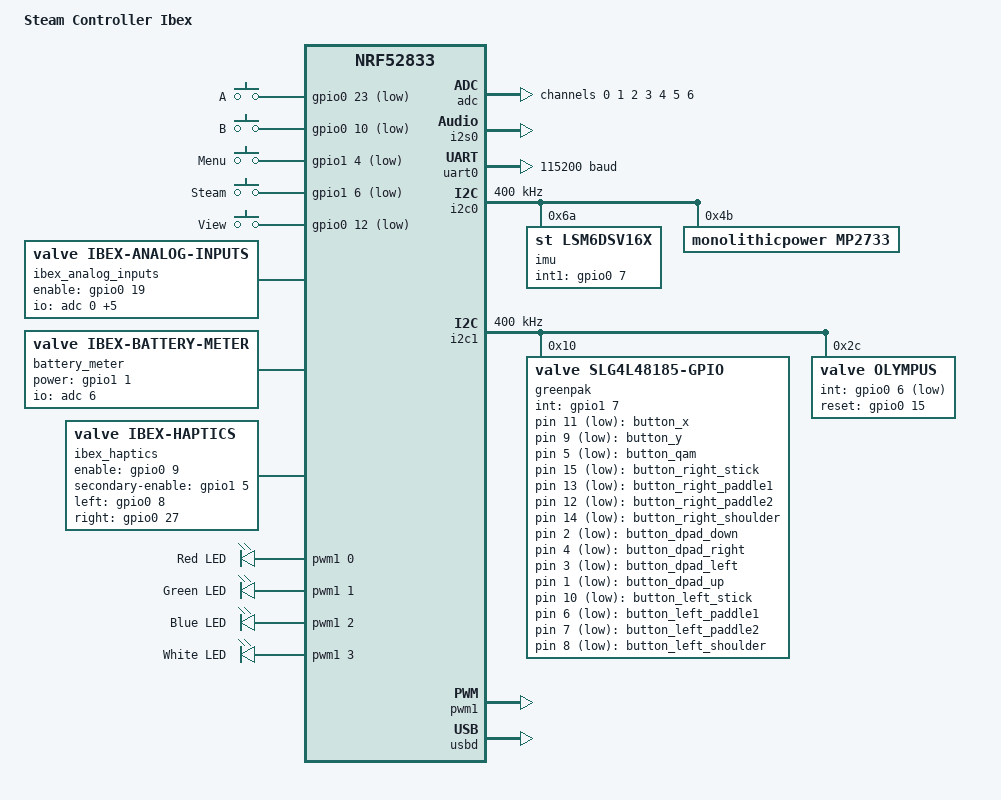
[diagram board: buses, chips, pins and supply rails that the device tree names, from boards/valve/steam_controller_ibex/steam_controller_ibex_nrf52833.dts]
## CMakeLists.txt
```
# SPDX-License-Identifier: AGPL-3.0-or-later

cmake_minimum_required(VERSION 3.20.0)

list(APPEND BOARD_ROOT ${CMAKE_CURRENT_SOURCE_DIR})

find_package(Zephyr REQUIRED HINTS $ENV{ZEPHYR_BASE})
project(steam_controller)

target_sources(app PRIVATE
	src/battery.c
	src/calibration.c
	src/charge_mode.c
	src/hardware.c
	src/haptics.c
	src/ibex_settings_registry.c
	src/imu.c
	src/lizard.c
	src/main.c
	src/boot_guard.c
	src/power.c
	src/puck_interface.c
	src/radio_personality.c
	src/shell.c
	src/transport.c
	src/valve_feature.c
	src/valve_hid_report_map.c
	src/valve_identity.c
	src/valve_settings.c
)

target_sources_ifdef(CONFIG_HAPTICS_PWM_NRF app PRIVATE src/haptics_pwm_nrf.c)
if(CONFIG_IBEX_HAPTICS_PWM)
	set(IBEX_HAPTICS_WAVEFORMS_H ${PROJECT_BINARY_DIR}/generated/haptics_waveforms.h)

	add_custom_command(
		OUTPUT ${IBEX_HAPTICS_WAVEFORMS_H}
		COMMAND ${PYTHON_EXECUTABLE}
			${CMAKE_CURRENT_SOURCE_DIR}/../scripts/haptics-wav-to-header.py
			--output ${IBEX_HAPTICS_WAVEFORMS_H}
			--input haptics_waveform_tick=${CMAKE_CURRENT_SOURCE_DIR}/assets/haptics/tick.wav
			--input haptics_waveform_click=${CMAKE_CURRENT_SOURCE_DIR}/assets/haptics/click.wav
			--input haptics_waveform_scream=${CMAKE_CURRENT_SOURCE_DIR}/assets/haptics/scream.wav
			--input haptics_waveform_meow=${CMAKE_CURRENT_SOURCE_DIR}/assets/haptics/meow.wav
		DEPENDS
			${CMAKE_CURRENT_SOURCE_DIR}/../scripts/haptics-wav-to-header.py
			${CMAKE_CURRENT_SOURCE_DIR}/assets/haptics/tick.wav
			${CMAKE_CURRENT_SOURCE_DIR}/assets/haptics/click.wav
			${CMAKE_CURRENT_SOURCE_DIR}/assets/haptics/scream.wav
			${CMAKE_CURRENT_SOURCE_DIR}/assets/haptics/meow.wav
		COMMENT "Generating Ibex haptics waveform header"
		VERBATIM
	)
	add_custom_target(ibex_haptics_waveforms DEPENDS ${IBEX_HAPTICS_WAVEFORMS_H})
	add_dependencies(app ibex_haptics_waveforms)
	target_include_directories(app PRIVATE ${PROJECT_BINARY_DIR}/generated)
	target_sources(app PRIVATE src/haptics_pwm_ibex.c)
endif()
target_sources_ifdef(CONFIG_IBEX_ANALOG_INPUTS app PRIVATE src/analog.c)
target_sources_ifdef(CONFIG_IBEX_OLYMPUS app PRIVATE src/olympus.c)
target_sources_ifdef(CONFIG_IBEX_SHELL_ZMODEM app PRIVATE src/zmodem.c src/shell_zmodem.c)
target_sources_ifdef(CONFIG_IBEX_BLE app PRIVATE src/transport_ble.c)
target_sources_ifdef(CONFIG_IBEX_USB_HID app PRIVATE src/transport_usb.c)
target_sources_ifdef(CONFIG_IBEX_ESB app PRIVATE src/transport_esb.c)
target_sources_ifdef(CONFIG_IBEX_ESB app PRIVATE src/esb_backend_direct.c)
target_sources_ifdef(CONFIG_IBEX_RGBW_LED app PRIVATE src/rgbw_led.c)
target_sources_ifdef(CONFIG_GPIO_GREENPAK app PRIVATE drivers/gpio/gpio_greenpak.c)
target_sources_ifdef(CONFIG_BOARD_STEAM_CONTROLLER_IBEX app PRIVATE src/valve_nvs.c)

if(CONFIG_BOARD_STEAM_CONTROLLER_IBEX)
	string(REGEX REPLACE "^0[xX]" "" IBEX_FW_TIMESTAMP "${CONFIG_IBEX_BUILD_TIMESTAMP}")
	string(TOUPPER "${IBEX_FW_TIMESTAMP}" IBEX_FW_TIMESTAMP)
	set(IBEX_FW_NAME "IBEX_CUSTOM_${IBEX_FW_TIMESTAMP}.fw")
	set(IBEX_FW_PATH "${PROJECT_BINARY_DIR}/zephyr/${IBEX_FW_NAME}")

	add_custom_target(ibex_fw ALL
		COMMAND ${PYTHON_EXECUTABLE}
			${CMAKE_CURRENT_SOURCE_DIR}/../scripts/package-ibex-fw.py
			--input ${PROJECT_BINARY_DIR}/zephyr/${KERNEL_BIN_NAME}
			--elf ${PROJECT_BINARY_DIR}/zephyr/${KERNEL_ELF_NAME}
			--output ${IBEX_FW_PATH}
		DEPENDS zephyr_final
		BYPRODUCTS
			${IBEX_FW_PATH}
		COMMENT "Packaging Valve Ibex firmware container"
		VERBATIM
	)
endif()
```

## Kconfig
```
# SPDX-License-Identifier: AGPL-3.0-or-later

mainmenu "SC26re firmware"

menu "SC26re application"

config IBEX_BUILD_TIMESTAMP
	hex "Firmware build timestamp"
	default 0xf0550000
	help
	  Value exposed through the build_timestamp numeric attribute and used in
	  the packaged Ibex firmware filename. Makefile builds default this to
	  0xf0550000 plus the repository build number.

config IBEX_FIRMWARE_IDENTITY
	string "Custom firmware identity"
	default "SC26re"
	help
	  Human-readable identity embedded in the application and shown by the
	  status shell command.

config GPIO_GREENPAK
	bool "Valve GreenPAK input GPIO driver"
	default y if DT_HAS_VALVE_SLG4L48185_GPIO_ENABLED
	depends on GPIO && I2C && DT_HAS_VALVE_SLG4L48185_GPIO_ENABLED
	help
	  GPIO controller for the SLG4L48185 used by the Ibex board. This
	  implements only GPIO input and does not program GreenPAK config
	  NVM (which is probably done at the factory anyway).

config IBEX_BLE
	bool "Bluetooth LE HID transport"
	default y
	depends on BT
	select BT_GATT_CLIENT
	help
	  Include the Bluetooth HID transport for BLE support.

config IBEX_USB_HID
	bool "USB HID transport"
	default y if BOARD_STEAM_CONTROLLER_IBEX
	depends on BOARD_STEAM_CONTROLLER_IBEX && USBD_HID_SUPPORT && !IBEX_USB_CDC_ONLY
	help
	  Include the USB HID transport for Valve HID support over USB.

if IBEX_USB_HID

config IBEX_USB_VID
	hex "USB vendor ID"
	default 0x28de

config IBEX_USB_PID
	hex "USB product ID"
	default 0x1302

config IBEX_USB_MANUFACTURER
	string "USB manufacturer string"
	default "Valve Corporation"

config IBEX_USB_PRODUCT
	string "USB product string"
	default "SC26RE-1kHz"

endif

config IBEX_USB_CDC_ONLY
	bool "Use USB only for the CDC-ACM shell"
	default n
	depends on BOARD_STEAM_CONTROLLER_IBEX && USB_DEVICE_STACK_NEXT
	help
	  Diagnostic mode for radio bring-up: enumerate only the CDC-ACM shell
	  over USB, with no Valve HID interface. This keeps Steam from opening
	  the USB controller while the shell can be used over the USB cable.

config IBEX_PUCK_INTERFACE
	bool "Ibex puck UART interface"
	default y if BOARD_STEAM_CONTROLLER_IBEX
	depends on BOARD_STEAM_CONTROLLER_IBEX && SERIAL
	select UART_INTERRUPT_DRIVEN
	help
	  Service the Ibex charging puck UART protocol on UARTE0.

config IBEX_ESB
	bool "Enhanced ShockBurst transport (puck support)"
	default n
	depends on SOC_NRF52833
	select ENTROPY_GENERATOR
	select DYNAMIC_INTERRUPTS if IBEX_BLE && BT_LL_SW_SPLIT
	select DYNAMIC_DIRECT_INTERRUPTS if IBEX_BLE && BT_LL_SW_SPLIT
	select BT_CTLR_DYNAMIC_INTERRUPTS if IBEX_BLE && BT_LL_SW_SPLIT
	help
	  Include the ESB transport for Valve HID support over Enhanced ShockBurst.
	  Also known as "puck support".

config IBEX_ACCELEROMETER
	bool "Include accelerometer data when accel0 is available"
	default y
	depends on SENSOR && DT_HAS_ST_LSM6DSV16X_ENABLED
	help
	  Include Ibex LSM6DSV16X FIFO and SFLP motion reports. Zephyr 4.4's
	  asynchronous sensor API is used to consume accelerometer, gyroscope,
	  game-rotation-vector, and gyroscope-bias frames.

config IBEX_IMU_WAKES_REPORT
	bool "Wake the report loop on every fresh gyro sample (USB only)"
	default y
	depends on IBEX_ACCELEROMETER
	help
	  Signal the input-changed semaphore after each FIFO batch that carried a
	  gyro frame, so USB reports carry fresh IMU data at the IMU batch rate.

config IBEX_IMU_I2C_FREQ_KHZ
	int "Force the IMU I2C bus rate (kHz)"
	default 400
	range 100 1000
	help
	  400 keeps the devicetree rate. Other values write the nRF TWIM
	  FREQUENCY register directly; anything above 400 is undocumented on
	  nRF52833 (1000 crashed a controller in testing, 800 worked).

config IBEX_IMU_DEBUG_IN_QUAT
	bool "Diagnostics: report IMU pipeline timing in the quaternion fields"
	depends on IBEX_ACCELEROMETER
	help
	  w = IRQ-to-processing latency (us), x = batch build time (us),
	  y = batch period (us), z = gyro frames per batch x100. Averages over
	  256 batches. For measurement builds only.

config IBEX_ANALOG_STAY_POWERED_ON_USB
	bool "Keep the stick/trigger supply on between scans while on USB"
	default y
	depends on IBEX_ANALOG_INPUTS
	help
	  Skips the 200 us power-up settle per report over USB.

config IBEX_ANALOG_USB_SAMPLES
	int "Stick/trigger SAADC samples averaged per report over USB"
	default 1
	range 1 4
	depends on IBEX_ANALOG_INPUTS
	help
	  Battery/wireless keeps 4. Each extra round adds SAADC time to every
	  report-loop iteration.

config IBEX_USB_REPORT_POLL_US
	int "Report loop poll period while USB is configured (us)"
	default 1000
	range 250 4000
	help
	  Upper bound on the time between report-loop iterations over USB. Stock
	  sc26re uses 4000 us everywhere; wireless links keep 4000 us.

config IBEX_ANALOG_INPUTS
	bool "Include Ibex stick and trigger ADC inputs"
	default y if BOARD_STEAM_CONTROLLER_IBEX
	depends on ADC
	help
	  Scan the six Ibex SAADC channels and include them in HID reports.

config IBEX_OLYMPUS
	bool "Include Ibex Olympus touchpads"
	default y if BOARD_STEAM_CONTROLLER_IBEX
	depends on I2C && GPIO && DT_HAS_VALVE_OLYMPUS_ENABLED
	help
	  Configure the Olympus touch controller and include touchpad data in HID reports.

config IBEX_SHELL_ZMODEM
	bool "ZMODEM shell downloads"
	default y if IBEX_OLYMPUS
	depends on SHELL
	help
	  Send binary dumps to a terminal's ZMODEM receiver. Enables the
	  `olympus dump` command when Olympus is available.

config SHELL_BACKEND_SERIAL_TX_RING_BUFFER_SIZE
	default 256 if IBEX_SHELL_ZMODEM

config HAPTICS_PWM_NRF
	bool "nRF PWM button beep backend"
	default y if BOARD_BBC_MICROBIT_V2
	depends on PWM
	help
	  Short debug beep on button press through the micro:bit piezo.

config IBEX_HAPTICS_PWM
	bool "Ibex haptics PWM/I2S backend"
	default y
	depends on BOARD_STEAM_CONTROLLER_IBEX && DT_HAS_VALVE_IBEX_HAPTICS_ENABLED
	select FPU
	select FPU_SHARING
	select NRFX_PWM
	select I2S
	help
	  Haptics backend for the genuine Ibex touchpad actuators and the
	  secondary Gri-v3 I2S actuator path.

config IBEX_RGBW_LED
	bool "RGBW LED control"
	default y if BOARD_STEAM_CONTROLLER_IBEX
	depends on LED && PWM
	help
	  Control the four-channel RGBW LED on the controller face.

config IBEX_BATTERY
	bool "Ibex battery and charger reporting"
	default y if DT_HAS_MONOLITHICPOWER_MP2733_ENABLED
	depends on I2C && IBEX_ANALOG_INPUTS
	depends on DT_HAS_MONOLITHICPOWER_MP2733_ENABLED
	depends on DT_HAS_VALVE_IBEX_BATTERY_METER_ENABLED
	help
	  Poll the MP2733 charger and the switched battery-voltage divider, then
	  expose battery level over HID/BLE BAS.


config IBEX_STICK_TOUCH_PRESS
	int "Forced stick touch (press) threshold, 0 = use host setting"
	range 0 16000
	default 720
	help
	  Raw capacitive value the stick must exceed to report a touch.
	  Higher = less sensitive (ignores hovering fingers). Stock 500.

config IBEX_STICK_TOUCH_RELEASE
	int "Forced stick touch release threshold, 0 = 80% of press"
	range 0 16000
	default 0

config IBEX_HAPTICS_TRIGGERS_ON_GRIPS
	bool "Play Steam trigger haptics on the grip actuators instead of the trackpads"
	default y
	help
	  While a trigger is pulled (and 150 ms after release) and the trackpad on the
	  same side is not touched, haptic pulses/commands aimed at that side's trackpad
	  actuator are sent to the grip actuator of that side instead.

config IBEX_DROP_SCREAM
	bool "Stock drop easter egg: Wilhelm scream / meow when the controller falls"
	default y
	help
	  Port of OFW 6AE90BC5: on a detected free fall play the Wilhelm scream (script 16)
	  or the meow (script 17) with the chances below, otherwise nothing.
	  Needs the IMU stream to be running.

config IBEX_DROP_SCREAM_PERCENT
	int "Chance of the Wilhelm scream on a drop (%)"
	default 50
	range 0 100
	depends on IBEX_DROP_SCREAM
	help
	  Stock is about 19%.

config IBEX_DROP_MEOW_PERCENT
	int "Chance of the meow on a drop (%)"
	default 50
	range 0 100
	depends on IBEX_DROP_SCREAM
	help
	  Stock is about 31%. Scream + meow above 100% means a sound on every drop.

config IBEX_DROP_FREE_FALL_MS
	int "Free-fall time before the drop sound (ms)"
	default 260
	depends on IBEX_DROP_SCREAM
	help
	  OFW uses FF_DUR 63 IMU samples; at the stock accel rate that is about a quarter second.

config IBEX_HAPTICS_POWER_SOUNDS
	bool "Play the stock power-on / power-off chimes on the grip actuators"
	default y
	help
	  Ports OFW 6AE90BC5 system sounds: rising chime (script 1) at power-on and
	  falling chime (script 5) at power-off, level from user/haptic_boot_level.

config IBEX_DOCK_CHARGE_LED
	bool "Show the charge animation on the LED while the running controller sits on the Puck"
	default y
	depends on IBEX_RGBW_LED

config IBEX_HAPTICS_TRIGGER_GRIP_BOOST_DB
	int "Extra gain (dB) for trigger haptics moved to the grips"
	range -12 12
	default 4

config IBEX_HAPTICS_GYRO_ON_GRIPS
	bool "Play Steam gyro haptics on the grip actuators instead of the trackpads"
	default y
	help
	  While the controller is being turned (> ~20 dps, and 150 ms after) and the
	  trackpad on a side is either not touched or the finger rests still on it
	  (touch-to-enable gyro), haptics aimed at that trackpad go to the grip on
	  the same side.

config IBEX_HAPTICS_GRIP_TICK_HZ
	int "Tick/click on grip actuators: sine burst frequency, 0 = trackpad waveform"
	range 0 1000
	default 150

config IBEX_HAPTICS_GRIP_TICK_MS
	int "Tick/click on grip actuators: burst length in ms"
	range 2 60
	default 12

config IBEX_HAPTICS_GRIP_TICK_GAIN_DB
	int "Tick/click on grip actuators: gain offset in dB"
	range -48 24
	default -12

config IBEX_HAPTICS_GRIP_TICK_GAIN_SCALE_PCT
	int "Tick/click on grip actuators: percent of Steam's gain range kept (dB scale)"
	range 10 100
	default 50

config IBEX_HAPTICS_GYRO_GRIP_LEVELS
	bool "Map Steam Rotational Haptics Low/Medium/High to fixed grip levels"
	depends on IBEX_HAPTICS_GRIP_TICK_HZ > 0
	default y
	help
	  Ticks that end up on the grip actuators get one of three fixed levels (dB re
	  full scale), chosen by which Steam level (nearest dB) was sent.

config IBEX_HAPTICS_GYRO_STEAM_LOW_DB
	int "Steam gain sent for Rotational Haptics = Low"
	default -9
config IBEX_HAPTICS_GYRO_STEAM_MEDIUM_DB
	int "Steam gain sent for Rotational Haptics = Medium"
	default -6
config IBEX_HAPTICS_GYRO_STEAM_HIGH_DB
	int "Steam gain sent for Rotational Haptics = High"
	default -3
config IBEX_HAPTICS_GYRO_GRIP_LOW_DB
	int "Grip level for Low"
	default -25
config IBEX_HAPTICS_GYRO_GRIP_MEDIUM_DB
	int "Grip level for Medium"
	default -15
config IBEX_HAPTICS_GYRO_GRIP_HIGH_DB
	int "Grip level for High"
	default -5

config IBEX_TRIGGER_DEBUG_IN_QUAT
	bool "Diagnostics: trigger raw mV and active calibration in the quaternion fields"

config IBEX_HAPTICS_PCM_DEBUG_IN_QUAT
	bool "Diagnostics: PCM haptic stream counters per second in the quaternion fields"
	depends on !IBEX_HAPTICS_DEBUG_IN_QUAT
	help
	  w = PCM sample bytes received, x = PCM messages dropped (queue full),
	  y = bytes dropped because the ring was full, z = underruns (ring ran empty).

config IBEX_HAPTICS_DEBUG_IN_QUAT
	bool "Diagnostics: report received haptic output reports in the quaternion fields"
	help
	  Ring of the last 16 haptic output reports: w = sequence, x = report id |
	  side << 8, y = payload bytes 1..2, z = byte 3 | redirect state flags << 8.

config IBEX_GRIP_TOUCH_PERCENT
	int "Default grip touch sensitivity (setting 34), threshold = 225 + 9 * value"
	range 25 400
	default 75
	help
	  Stock is 100 (threshold 1125). Measured grip values while holding the
	  controller sit around 1000, so the stock threshold can miss a grip.
	  75 gives touch at 900 and release at 720 (80%).


config IBEX_ESB_IMPORT_OFW_BONDS
	bool "Use Puck bonds stored by the original firmware when CFW has none"
	default y
	help
	  Reads esb/bond, esb/bond_2 and user/wireless_transport from the
	  original firmware's storage (read-only) when the CFW settings area,
	  which the bootloader erases on every flash, holds no bond.


config IBEX_ESB_REPORT_POLL_US
	int "Report loop period while connected to the Puck (us)"
	range 500 4000
	default 1000
	help
	  The Puck polls every 4 ms (fixed in its firmware). A faster loop does not
	  add reports, but with IBEX_ESB_REPLACE_STALE_INPUT each poll gets a report
	  at most this old instead of up to one poll interval old.

config IBEX_ESB_REPLACE_STALE_INPUT
	bool "Overwrite not-yet-sent input ACK payloads with the newest report"
	default y

config IBEX_ESB_DEBUG_IN_QUAT
	bool "Puck link rates in the quaternion fields (diagnostics)"
	default n


config IBEX_ANALOG_FAST_ON_ESB
	bool "Use the fast analog scan (supply kept on, fewer SAADC rounds) on the Puck link"
	default y
	help
	  Without it a report-loop pass on the Puck link takes ~1.5 ms (supply
	  settle + 4 SAADC rounds), which caps the controller at ~400 reports/s.
	  Costs a little battery: the stick/trigger supply stays on while connected.


config IBEX_LED_USER_BRIGHTNESS
	bool "Scale the RGBW LED by Steam's LED brightness setting (45)"
	default y


config IBEX_OLYMPUS_FRAME_PERIOD_MS
	int "Trackpad (Olympus) frame period in ms (stock 4 = 250 Hz)"
	range 1 20
	default 1
	help
	  The controller is limited by its measurement time to ~305 frames/s
	  with the stock measurement profile, so 1 means "as fast as it can".

config IBEX_OLYMPUS_LOW_POWER
	bool "Trackpad controller low_power_mode flag (stock 1)"
	default y
	help
	  Measured: with 1 the controller runs ~100 frames/s idle and ~305 touched;
	  with 0 only ~43 idle and ~273 touched. Keep the stock value.

config IBEX_OLYMPUS_SINGLE_READ
	bool "Read trackpad header + payload in one I2C transfer"
	default y

config IBEX_OLYMPUS_I2C_FREQ_KHZ
	int "Force the trackpad I2C bus (i2c1) frequency in kHz (400 = DT default)"
	range 100 1000
	default 800
	help
	  800 is undocumented on nRF52833 TWIM but ran error-free on hardware and
	  raised touched trackpad frames from ~273 to ~305 per second.


config IBEX_OLYMPUS_DEBUG_IN_QUAT
	bool "Trackpad controller frame rates in the quaternion fields (diagnostics)"
	default n


config IBEX_OLYMPUS_NOISE_APERTURE
	int "Aperture of the two noise-sense measurements (0 = stock 0x27 = 39)"
	range 0 63
	default 0
	help
	  Experimental: shorter noise measurements shorten every trackpad frame.


config IBEX_CAPSENSE_DEBUG_IN_QUAT
	bool "Raw stick-touch and grip values in the quaternion fields (diagnostics)"
	default n


config IBEX_OLYMPUS_TIMING_IN_QUAT
	bool "Trackpad frame timing (interval/read/process/latency us) in the quaternion fields"
	default n


config IBEX_OLYMPUS_THREAD_PRIORITY
	int "Trackpad (Olympus) thread priority (stock 9; lower = more urgent)"
	range 1 14
	default 9


config IBEX_BUTTON_DEBOUNCE_MS
	int "Button debounce lock-out in ms (OFW 6ACFF323 uses 16, 0 = off)"
	range 0 50
	default 16

endmenu

source "Kconfig.zephyr"
```

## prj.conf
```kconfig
# SPDX-License-Identifier: AGPL-3.0-or-later

CONFIG_GPIO=y
CONFIG_ADC=y
CONFIG_PWM=y
CONFIG_LED=y
CONFIG_SENSOR=y
CONFIG_HWINFO=y

CONFIG_LOG=y
CONFIG_LOG_DEFAULT_LEVEL=3

CONFIG_FLASH=y
CONFIG_FLASH_MAP=y
CONFIG_FILE_SYSTEM=y
CONFIG_NVS=y
CONFIG_SETTINGS=y

CONFIG_REBOOT=y
CONFIG_POWEROFF=y

CONFIG_SHELL=y
CONFIG_SHELL_BACKEND_SERIAL=y
CONFIG_SHELL_STACK_SIZE=2048
CONFIG_SHELL_CMD_BUFF_SIZE=128
CONFIG_SHELL_PROMPT_UART="steamctl> "

CONFIG_MAIN_STACK_SIZE=2048
CONFIG_MAIN_THREAD_PRIORITY=10
CONFIG_SYSTEM_WORKQUEUE_STACK_SIZE=2048

# 1 kHz IMU path: no FIFO timestamp words (times come from the read timestamp)
CONFIG_LSM6DSV16X_STREAM_FIFO_TIMESTAMP=n
# I2C RTIO transfers run on the RTIO work queue; at the default priority 10 they
# queued behind the report loop (main, 10) and added ~1 ms to every FIFO read.
CONFIG_RTIO_WORKQ_THREADS_POOL_PRIO=2
```

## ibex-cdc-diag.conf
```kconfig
# SPDX-License-Identifier: AGPL-3.0-or-later

# Diagnostic build: keep only the CDC-ACM shell over USB. Do not enumerate
# Valve USB HID, so Steam cannot route inputs over USB while radio logs are
# captured on the same cable.
CONFIG_IBEX_USB_CDC_ONLY=y
CONFIG_IBEX_USB_HID=n
CONFIG_USBD_HID_SUPPORT=n
CONFIG_CDC_ACM_SERIAL_INITIALIZE_AT_BOOT=y
CONFIG_CDC_ACM_SERIAL_ENABLE_AT_BOOT=y
CONFIG_CDC_ACM_SERIAL_VID=0x28de
CONFIG_CDC_ACM_SERIAL_PID=0x1304
CONFIG_CDC_ACM_SERIAL_MANUFACTURER_STRING="Valve Corporation"
CONFIG_CDC_ACM_SERIAL_PRODUCT_STRING="SC26RE-1kHz CDC diag"
```

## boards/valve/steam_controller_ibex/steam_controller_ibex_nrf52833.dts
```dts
/* SPDX-License-Identifier: AGPL-3.0-or-later */

/dts-v1/;

#include <nordic/nrf52833_qiaa.dtsi>
#include "steam_controller_ibex_nrf52833-pinctrl.dtsi"
#include <zephyr/dt-bindings/adc/adc.h>
#include <zephyr/dt-bindings/adc/nrf-adc.h>
#include <zephyr/dt-bindings/input/input-event-codes.h>
#include <zephyr/dt-bindings/pwm/pwm.h>
#include <zephyr/dt-bindings/sensor/lsm6dsv16x.h>

/ {
	model = "Steam Controller Ibex";
	compatible = "valve,steam-controller-ibex";

	aliases {
		button-a = &button_a;
		button-b = &button_b;
		button-x = &button_x;
		button-y = &button_y;
		button-qam = &button_qam;
		button-right-stick = &button_right_stick;
		button-view = &button_menu;
		button-right-paddle1 = &button_right_paddle1;
		button-right-paddle2 = &button_right_paddle2;
		button-right-shoulder = &button_right_shoulder;
		button-dpad-down = &button_dpad_down;
		button-dpad-right = &button_dpad_right;
		button-dpad-left = &button_dpad_left;
		button-dpad-up = &button_dpad_up;
		button-menu = &button_left_view;
		button-left-stick = &button_left_stick;
		button-steam = &button_steam;
		button-left-paddle1 = &button_left_paddle1;
		button-left-paddle2 = &button_left_paddle2;
		button-left-shoulder = &button_left_shoulder;
		accel0 = &imu;
		watchdog0 = &wdt0;
	};

	chosen {
		zephyr,console = &cdc_acm_uart0;
		zephyr,shell-uart = &cdc_acm_uart0;
		zephyr,sram = &sram0;
		zephyr,flash = &flash0;
		zephyr,code-partition = &application_partition;
	};

	buttons {
		compatible = "gpio-keys";

		button_a: button_a {
			label = "A";
			gpios = <&gpio0 23 (GPIO_PULL_UP | GPIO_ACTIVE_LOW)>;
			zephyr,code = <INPUT_BTN_SOUTH>;
		};

		button_b: button_b {
			label = "B";
			gpios = <&gpio0 10 (GPIO_PULL_UP | GPIO_ACTIVE_LOW)>;
			zephyr,code = <INPUT_BTN_EAST>;
		};

		button_menu: button_menu {
			label = "Menu";
			gpios = <&gpio1 4 (GPIO_PULL_UP | GPIO_ACTIVE_LOW)>;
			zephyr,code = <INPUT_KEY_MENU>;
		};

		button_steam: button_steam {
			label = "Steam";
			gpios = <&gpio1 6 (GPIO_PULL_UP | GPIO_ACTIVE_LOW)>;
			zephyr,code = <INPUT_KEY_HOME>;
		};

		button_left_view: button_left_view {
			label = "View";
			gpios = <&gpio0 12 (GPIO_PULL_UP | GPIO_ACTIVE_LOW)>;
			zephyr,code = <INPUT_KEY_BACK>;
		};
	};

	greenpak_buttons {
		compatible = "gpio-keys";

		button_x: button_x {
			gpios = <&greenpak 11 GPIO_ACTIVE_LOW>;
			zephyr,code = <INPUT_BTN_WEST>;
		};

		button_y: button_y {
			gpios = <&greenpak 9 GPIO_ACTIVE_LOW>;
			zephyr,code = <INPUT_BTN_NORTH>;
		};

		button_qam: button_qam {
			gpios = <&greenpak 5 GPIO_ACTIVE_LOW>;
			zephyr,code = <INPUT_BTN_MODE>;
		};

		button_right_stick: button_right_stick {
			gpios = <&greenpak 15 GPIO_ACTIVE_LOW>;
			zephyr,code = <INPUT_BTN_THUMBR>;
		};

		button_right_paddle1: button_right_paddle1 {
			gpios = <&greenpak 13 GPIO_ACTIVE_LOW>;
			zephyr,code = <INPUT_BTN_5>;
		};

		button_right_paddle2: button_right_paddle2 {
			gpios = <&greenpak 12 GPIO_ACTIVE_LOW>;
			zephyr,code = <INPUT_BTN_6>;
		};

		button_right_shoulder: button_right_shoulder {
			gpios = <&greenpak 14 GPIO_ACTIVE_LOW>;
			zephyr,code = <INPUT_BTN_TR>;
		};

		button_dpad_down: button_dpad_down {
			gpios = <&greenpak 2 GPIO_ACTIVE_LOW>;
			zephyr,code = <INPUT_BTN_DPAD_DOWN>;
		};

		button_dpad_right: button_dpad_right {
			gpios = <&greenpak 4 GPIO_ACTIVE_LOW>;
			zephyr,code = <INPUT_BTN_DPAD_RIGHT>;
		};

		button_dpad_left: button_dpad_left {
			gpios = <&greenpak 3 GPIO_ACTIVE_LOW>;
			zephyr,code = <INPUT_BTN_DPAD_LEFT>;
		};

		button_dpad_up: button_dpad_up {
			gpios = <&greenpak 1 GPIO_ACTIVE_LOW>;
			zephyr,code = <INPUT_BTN_DPAD_UP>;
		};

		button_left_stick: button_left_stick {
			gpios = <&greenpak 10 GPIO_ACTIVE_LOW>;
			zephyr,code = <INPUT_BTN_THUMBL>;
		};

		button_left_paddle1: button_left_paddle1 {
			gpios = <&greenpak 6 GPIO_ACTIVE_LOW>;
			zephyr,code = <INPUT_BTN_7>;
		};

		button_left_paddle2: button_left_paddle2 {
			gpios = <&greenpak 7 GPIO_ACTIVE_LOW>;
			zephyr,code = <INPUT_BTN_8>;
		};

		button_left_shoulder: button_left_shoulder {
			gpios = <&greenpak 8 GPIO_ACTIVE_LOW>;
			zephyr,code = <INPUT_BTN_TL>;
		};
	};

	ibex_analog_inputs {
		compatible = "valve,ibex-analog-inputs";
		enable-gpios = <&gpio0 19 GPIO_ACTIVE_HIGH>;
		io-channels = <&adc 0>, <&adc 1>, <&adc 2>,
			      <&adc 3>, <&adc 4>, <&adc 5>;
		io-channel-names = "stick-left-x", "stick-left-y",
				   "stick-right-x", "stick-right-y",
				   "trigger-left", "trigger-right";
	};

	battery_meter: battery_meter {
		compatible = "valve,ibex-battery-meter";
		io-channels = <&adc 6>;
		output-ohms = <301000>;
		full-ohms = <522000>;
		power-gpios = <&gpio1 1 GPIO_ACTIVE_HIGH>;
		/* OFW 0x39730 enables the divider; 0x33c96 waits this long before sampling. */
		power-on-sample-delay-us = <5000>;
	};

	ibex_haptics: ibex_haptics {
		compatible = "valve,ibex-haptics";
		enable-gpios = <&gpio0 9 (GPIO_ACTIVE_HIGH | GPIO_PULL_DOWN)>;
		secondary-enable-gpios = <&gpio1 5 GPIO_ACTIVE_HIGH>;
		/* OFW touchpad haptics: left0 is PWM0 OUT2, right0 is PWM0 OUT0. */
		left-gpios = <&gpio0 8 GPIO_ACTIVE_HIGH>;
		right-gpios = <&gpio0 27 GPIO_ACTIVE_HIGH>;
		left-channel = <2>;
		right-channel = <0>;
		status = "okay";
	};

	hid_dev_0: hid_dev_0 {
		compatible = "zephyr,hid-device";
		in-report-size = <64>;
		in-polling-period-us = <1000>;
		out-report-size = <64>;
		out-polling-period-us = <1000>;
	};

	pwmrgbleds: pwmrgbleds {
		compatible = "pwm-leds";

		led_red: led_red {
			pwms = <&pwm1 0 PWM_HZ(20000) PWM_POLARITY_INVERTED>;
			label = "Red LED";
		};

		led_green: led_green {
			pwms = <&pwm1 1 PWM_HZ(20000) PWM_POLARITY_INVERTED>;
			label = "Green LED";
		};

		led_blue: led_blue {
			pwms = <&pwm1 2 PWM_HZ(20000) PWM_POLARITY_INVERTED>;
			label = "Blue LED";
		};

		led_white: led_white {
			pwms = <&pwm1 3 PWM_HZ(20000) PWM_POLARITY_INVERTED>;
			label = "White LED";
		};
	};
};

&adc {
	status = "okay";
	#address-cells = <1>;
	#size-cells = <0>;

	channel@0 {
		reg = <0>;
		zephyr,gain = "ADC_GAIN_1_4";
		zephyr,reference = "ADC_REF_VDD_1_4";
		zephyr,acquisition-time = <ADC_ACQ_TIME(ADC_ACQ_TIME_MICROSECONDS, 3)>;
		zephyr,input-positive = <NRF_SAADC_AIN4>;
		zephyr,vref-mv = <825>;
		zephyr,resolution = <12>;
	};

	channel@1 {
		reg = <1>;
		zephyr,gain = "ADC_GAIN_1_4";
		zephyr,reference = "ADC_REF_VDD_1_4";
		zephyr,acquisition-time = <ADC_ACQ_TIME(ADC_ACQ_TIME_MICROSECONDS, 3)>;
		zephyr,input-positive = <NRF_SAADC_AIN1>;
		zephyr,vref-mv = <825>;
		zephyr,resolution = <12>;
	};

	channel@2 {
		reg = <2>;
		zephyr,gain = "ADC_GAIN_1_4";
		zephyr,reference = "ADC_REF_VDD_1_4";
		zephyr,acquisition-time = <ADC_ACQ_TIME(ADC_ACQ_TIME_MICROSECONDS, 3)>;
		zephyr,input-positive = <NRF_SAADC_AIN7>;
		zephyr,vref-mv = <825>;
		zephyr,resolution = <12>;
	};

	channel@3 {
		reg = <3>;
		zephyr,gain = "ADC_GAIN_1_4";
		zephyr,reference = "ADC_REF_VDD_1_4";
		zephyr,acquisition-time = <ADC_ACQ_TIME(ADC_ACQ_TIME_MICROSECONDS, 3)>;
		zephyr,input-positive = <NRF_SAADC_AIN5>;
		zephyr,vref-mv = <825>;
		zephyr,resolution = <12>;
	};

	channel@4 {
		reg = <4>;
		zephyr,gain = "ADC_GAIN_1_2";
		zephyr,reference = "ADC_REF_VDD_1_4";
		zephyr,acquisition-time = <ADC_ACQ_TIME(ADC_ACQ_TIME_MICROSECONDS, 3)>;
		zephyr,input-positive = <NRF_SAADC_AIN6>;
		zephyr,vref-mv = <825>;
		zephyr,resolution = <12>;
	};

	channel@5 {
		reg = <5>;
		zephyr,gain = "ADC_GAIN_1_2";
		zephyr,reference = "ADC_REF_VDD_1_4";
		zephyr,acquisition-time = <ADC_ACQ_TIME(ADC_ACQ_TIME_MICROSECONDS, 3)>;
		zephyr,input-positive = <NRF_SAADC_AIN0>;
		zephyr,vref-mv = <825>;
		zephyr,resolution = <12>;
	};

	channel@6 {
		reg = <6>;
		zephyr,gain = "ADC_GAIN_1_6";
		zephyr,reference = "ADC_REF_INTERNAL";
		zephyr,acquisition-time = <ADC_ACQ_TIME(ADC_ACQ_TIME_MICROSECONDS, 40)>;
		zephyr,input-positive = <NRF_SAADC_AIN3>;
		zephyr,vref-mv = <600>;
		zephyr,resolution = <12>;
	};
};

&gpiote {
	status = "okay";
};

&i2s0 {
	status = "okay";
	pinctrl-0 = <&i2s0_default>;
	pinctrl-1 = <&i2s0_sleep>;
	pinctrl-names = "default", "sleep";
};

&gpio0 {
	status = "okay";
	sense-edge-mask = <0x00801400>;
};

&gpio1 {
	status = "okay";
	sense-edge-mask = <0x00000050>;
};

&uart0 {
	compatible = "nordic,nrf-uarte";
	status = "okay";
	current-speed = <115200>;
	pinctrl-0 = <&uart0_default>;
	pinctrl-1 = <&uart0_sleep>;
	pinctrl-names = "default", "sleep";
};

&i2c0 {
	compatible = "nordic,nrf-twim";
	status = "okay";
	clock-frequency = <I2C_BITRATE_FAST>;
	pinctrl-0 = <&i2c0_default>;
	pinctrl-1 = <&i2c0_sleep>;
	pinctrl-names = "default", "sleep";

	imu: lsm6dsv16x@6a {
		compatible = "st,lsm6dsv16x";
		reg = <0x6a>;
		accel-range = <LSM6DSV16X_DT_FS_2G>;
		accel-odr = <LSM6DSVXXX_DT_ODR_HA01_AT_500Hz>;
		gyro-range = <LSM6DSV16X_DT_FS_2000DPS>;
		gyro-odr = <LSM6DSVXXX_DT_ODR_HA01_AT_1000Hz>;
		fifo-watermark = <1>;
		accel-fifo-batch-rate = <LSM6DSVXXX_DT_XL_BATCHED_AT_240Hz>;
		gyro-fifo-batch-rate = <LSM6DSVXXX_DT_GY_BATCHED_AT_960Hz>;
		sflp-odr = <LSM6DSVXXX_DT_SFLP_ODR_AT_120Hz>;
		sflp-fifo-enable = <LSM6DSVXXX_DT_SFLP_FIFO_GAME_ROTATION_GBIAS>;
		int1-gpios = <&gpio0 7 GPIO_ACTIVE_HIGH>;
		drdy-pin = <1>;
		status = "okay";
	};

	mp2733: charger@4b {
		compatible = "monolithicpower,mp2733";
		reg = <0x4b>;
		status = "okay";
	};
};

&i2c1 {
	compatible = "nordic,nrf-twim";
	status = "okay";
	clock-frequency = <I2C_BITRATE_FAST>;
	pinctrl-0 = <&i2c1_default>;
	pinctrl-1 = <&i2c1_sleep>;
	pinctrl-names = "default", "sleep";

	greenpak: gpio@10 {
		compatible = "valve,slg4l48185-gpio";
		reg = <0x10>;
		gpio-controller;
		#gpio-cells = <2>;
		ngpios = <16>;
		gpio-reserved-ranges = <0 1>;
		int-gpios = <&gpio1 7 GPIO_ACTIVE_HIGH>;
		input-selector = <0xf0>;
		poll-interval-ms = <20>;
		status = "okay";
	};

	olympus: touch-controller@2c {
		compatible = "valve,olympus";
		reg = <0x2c>;
		int-gpios = <&gpio0 6 GPIO_ACTIVE_LOW>;
		reset-gpios = <&gpio0 15 GPIO_ACTIVE_HIGH>;
		status = "okay";
	};
};

&flash0 {
	partitions {
		compatible = "fixed-partitions";
		#address-cells = <1>;
		#size-cells = <1>;

		/*
		 * Valve's bootloader occupies 0x00000-0x07fff and stores
		 * the application header at 0x7cfe0-0x7cfff.
		 */
		application_partition: partition@8000 {
			label = "application";
			reg = <0x00008000 0x00070000>;
		};

		storage_partition: partition@78000 {
			label = "storage";
			reg = <0x00078000 0x00004000>;
		};

		valve_app_header: partition@7c000 {
			label = "valve-app-header";
			reg = <0x0007c000 0x00001000>;
		};

		valve_storage: partition@7d000 {
			label = "valve-storage";
			reg = <0x0007d000 0x00003000>;
		};
	};
};

&pwm1 {
	status = "okay";
	pinctrl-0 = <&pwm1_default>;
	pinctrl-1 = <&pwm1_sleep>;
	pinctrl-names = "default", "sleep";
};

zephyr_udc0: &usbd {
	compatible = "nordic,nrf-usbd";
	status = "okay";

	cdc_acm_uart0: cdc_acm_uart0 {
		compatible = "zephyr,cdc-acm-uart";
	};
};
```

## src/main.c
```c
/* SPDX-License-Identifier: AGPL-3.0-or-later */
#include <errno.h>
#include <stdlib.h>
#include <string.h>

#include <zephyr/kernel.h>
#include <zephyr/logging/log.h>
#include <zephyr/settings/settings.h>

#include "battery.h"
#include "boot_guard.h"
#include "charge_mode.h"
#include "haptics.h"
#include "controller.h"
#include "ibex_settings_registry.h"
#include "lizard.h"
#include "power.h"
#include "puck_interface.h"
#include "valve_settings.h"
#include "watchdog.h"

#if CONFIG_IBEX_RGBW_LED
#include "rgbw_led.h"
#endif

#define BOOT_CHORD_SETTLE_MS 150
#define PERSONALITY_PERSIST_DELAY_MS 60000
#define STEAM_POWER_HOLD_MS 5000
#define INPUT_REFRESH_MS 15
#define INACTIVITY_STICK_THRESHOLD 4000
#define INACTIVITY_PHYSICAL_BUTTONS BIT_MASK(20)
#define INACTIVITY_TOUCH_BUTTONS \
	(BIT(CONTROLLER_BUTTON_RIGHT_STICK_TOUCH) | \
	 BIT(CONTROLLER_BUTTON_RIGHT_TOUCHPAD_TOUCH) | \
	 BIT(CONTROLLER_BUTTON_LEFT_STICK_TOUCH) | BIT(CONTROLLER_BUTTON_LEFT_TOUCHPAD_TOUCH))

LOG_MODULE_REGISTER(app);

static bool chord_pressed(uint32_t buttons, enum controller_button first,
                          enum controller_button second)
{
	uint32_t mask = BIT(first) | BIT(second);

	return (buttons & mask) == mask;
}

static bool report_has_activity(const struct controller_report *report)
{
	if((report->buttons & (INACTIVITY_PHYSICAL_BUTTONS | INACTIVITY_TOUCH_BUTTONS)) != 0U ||
	   report->trigger_left != 0 ||
	   report->trigger_right != 0)
	{
		return true;
	}

	return abs(report->stick_left_x) > INACTIVITY_STICK_THRESHOLD ||
	       abs(report->stick_left_y) > INACTIVITY_STICK_THRESHOLD ||
	       abs(report->stick_right_x) > INACTIVITY_STICK_THRESHOLD ||
	       abs(report->stick_right_y) > INACTIVITY_STICK_THRESHOLD;
}

static enum radio_personality boot_chord_personality(void)
{
	uint32_t buttons;

	k_sleep(K_MSEC(BOOT_CHORD_SETTLE_MS));
	buttons = hardware_read_buttons();

	/* BLE wins the three-button chord so A+B also opens its pairing window. */
	if(chord_pressed(buttons, CONTROLLER_BUTTON_RIGHT_SHOULDER, CONTROLLER_BUTTON_B))
	{
		return RADIO_PERSONALITY_BLE;
	}
	if(chord_pressed(buttons, CONTROLLER_BUTTON_RIGHT_SHOULDER, CONTROLLER_BUTTON_A))
	{
		return RADIO_PERSONALITY_ESB;
	}

	return radio_personality_get();
}

static void set_boot_led(bool usb_radio_off)
{
#if CONFIG_IBEX_RGBW_LED
	if(usb_radio_off)
	{
		rgbw_led_set((struct rgbw_color){ 0, 255, 0, 0 });
	}
	else if(radio_personality_get() == RADIO_PERSONALITY_BLE)
	{
		rgbw_led_set((struct rgbw_color){ 0, 0, 255, 0 });
	}
	else
	{
		rgbw_led_set((struct rgbw_color){ 0, 0, 0, 255 });
	}
#endif
}

int main(void)
{
	struct controller_report previous = { 0 };
	int64_t steam_button_since = 0;
	int64_t last_input_sent = 0;
	int64_t last_activity_ms;
	int16_t inactivity_timeout_seconds = 0;
	enum charge_mode_result charge_result = CHARGE_MODE_SKIPPED;
	bool usb_vbus_charge_radio;
	bool first = true;
	int err;

	power_capture_boot_state();
	boot_guard_begin();

	if(IS_ENABLED(CONFIG_SETTINGS))
	{
		err = settings_subsys_init();
		if(err)
		{
			boot_guard_fatal("settings init", err);
		}
	}
	radio_personality_init();
	valve_settings_load_feature_state();
	ibex_settings_registry_init();
	err = lizard_init();
	if(err)
	{
		boot_guard_fatal("lizard init", err);
	}

	err = hardware_init();
	if(err)
	{
		boot_guard_fatal("hardware init", err);
	}
	err = puck_interface_init();
	if(err)
	{
		LOG_WRN("puck interface initialization failed: %d", err);
	}

	if(IS_ENABLED(CONFIG_IBEX_BATTERY))
	{
		err = battery_init();
		if(err)
		{
			LOG_WRN("battery initialization failed: %d", err);
		}
	}

	if(IS_ENABLED(CONFIG_IBEX_USB_HID))
	{
		err = transport_usb_init();
		if(err)
		{
			boot_guard_fatal("USB init", err);
		}
	}
	charge_result = charge_mode_run_if_needed();
	usb_vbus_charge_radio = charge_result == CHARGE_MODE_POWER_ON_RADIO &&
	                        transport_usb_attached() &&
	                        !transport_usb_configured();

	if(transport_usb_attached() && !usb_vbus_charge_radio)
	{
		LOG_INF("USB attached; using radio-off USB mode without persisting personality");
	}
	else
	{
		enum radio_personality requested_personality = boot_chord_personality();

		if(requested_personality != radio_personality_get())
		{
			LOG_INF("boot chord selected %s personality",
			        requested_personality == RADIO_PERSONALITY_ESB ? "ESB" : "BLE");
			/* an explicit boot chord is a deliberate choice: save it now instead of
			 * after the 60 s confirmation, so turning the controller off soon after
			 * does not fall back to the previous mode */
			radio_personality_persist_after(requested_personality, 0);
			radio_personality_reboot_into(requested_personality);
		}
		radio_personality_persist_after(radio_personality_get(), PERSONALITY_PERSIST_DELAY_MS);
	}
#if CONFIG_IBEX_RGBW_LED
	rgbw_led_load_settings();
#endif
	set_boot_led(transport_usb_attached() && !usb_vbus_charge_radio);

	if(boot_guard_safe_mode())
	{
		/* earlier boots never got stable: start without the radio this time */
		LOG_WRN("safe start after %u failed boots: radio not started", boot_guard_attempts());
		err = 0;
	}
	else if(usb_vbus_charge_radio)
	{
		err = transport_set_usb_radio_mode(TRANSPORT_USB_RADIO_VBUS_CHARGE);
	}
	else
	{
		err = transport_init();
	}
	if(err)
	{
		/* keep running (USB, power button) instead of returning from main() */
		LOG_ERR("transport initialization failed: %d; continuing without radio", err);
	}

	LOG_INF("SC26re started in %s mode", radio_personality_name());
	/* stock power-on / connection chime (also after "continue wireless" reboots, like OFW) */
	(void)haptics_play_system_sound(HAPTICS_SOUND_POWER_ON);
	(void)ibex_setting_get(SETTING_SLEEP_INACTIVITY_TIMEOUT, &inactivity_timeout_seconds);
	last_activity_ms = k_uptime_get();

	for(;;)
	{
		struct controller_report current;
		int16_t timeout_seconds = inactivity_timeout_seconds;
		int64_t now_ms;

		hardware_read_report(&current);
		now_ms = k_uptime_get();
#if CONFIG_IBEX_RGBW_LED
		rgbw_led_poll_settings();
		charge_mode_dock_led_poll();
#endif
		if(ibex_setting_get(SETTING_SLEEP_INACTIVITY_TIMEOUT, &timeout_seconds) &&
		   timeout_seconds != inactivity_timeout_seconds)
		{
			inactivity_timeout_seconds = timeout_seconds;
			last_activity_ms = now_ms;
		}
		if(report_has_activity(&current) || transport_usb_attached() || puck_interface_active())
		{
			last_activity_ms = now_ms;
		}
		else if(inactivity_timeout_seconds > 0 &&
		        now_ms - last_activity_ms >= (int64_t)inactivity_timeout_seconds * MSEC_PER_SEC)
		{
			LOG_INF("input inactive for %d seconds: shutting down", inactivity_timeout_seconds);
			last_activity_ms = now_ms;
			power_off();
		}
		if((current.buttons & BIT(CONTROLLER_BUTTON_STEAM)) != 0U)
		{
			if(steam_button_since == 0)
			{
				steam_button_since = k_uptime_get();
			}
			else if(k_uptime_get() - steam_button_since >= STEAM_POWER_HOLD_MS)
			{
				LOG_INF("Steam held: shutting down");
				power_off_after_buttons_released(BIT(CONTROLLER_BUTTON_STEAM));
			}
		}
		else
		{
			steam_button_since = 0;
		}

		bool changed = first || memcmp(&current, &previous, sizeof(current)) != 0;
		bool refresh_due = k_uptime_get() - last_input_sent >= INPUT_REFRESH_MS;
		/* OFW uses each full-state ESB report as the container boundary for lizard
		 * reports produced by the preceding input sample. */
		bool esb_state_boundary = transport_esb_connected();

		if(changed || refresh_due || esb_state_boundary)
		{
			if(changed && (current.buttons & ~previous.buttons) != 0U)
			{
				hardware_haptic_pulse();
			}

			err = transport_send(&current);
			if(err && err != -ENOTCONN)
			{
				LOG_WRN("report send failed: %d", err);
			}
			else
			{
				last_input_sent = k_uptime_get();
			}
			previous = current;
			first = false;
		}
		/* OFW sends the full state before waking lizard input processing. */
		lizard_update(&current);

		hardware_wait_for_change();
		watchdog_feed();
		boot_guard_loop();
	}
}
```

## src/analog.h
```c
/* SPDX-License-Identifier: AGPL-3.0-or-later */
#pragma once

#include <stdbool.h>
#include <stdint.h>

#include "controller.h"

int analog_init(void);
int analog_puck_pilot_present(bool *present);
int analog_battery_voltage_samples_mv(uint16_t *samples, size_t sample_count);
int analog_read_report(struct controller_report *report);

/* OFW 6AE90BC5 ID_CALIBRATE_ANALOG_TRIGGERS (0xC0) step calibration:
 * 0 = cancel, 1 = start (triggers released), 2 = triggers fully pressed, 3 = save. */
int analog_trigger_step_cal(uint8_t stage);
struct controller_report;
void analog_trigger_debug_quat(struct controller_report *report);
```

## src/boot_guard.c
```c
/* SPDX-License-Identifier: AGPL-3.0-or-later */
#include "boot_guard.h"

#include <zephyr/kernel.h>
#include <zephyr/logging/log.h>
#include <zephyr/sys/reboot.h>

#include "power.h"
#include "watchdog.h"

LOG_MODULE_REGISTER(boot_guard, LOG_LEVEL_INF);

/* Retained word next to the OFW-compatible continue-wireless magic (0x2001ffd4): outside
 * Zephyr RAM and not used by the Valve bootloader. */
#define BOOT_GUARD_WORD (*(volatile uint32_t *)0x2001ffc8u)
#define BOOT_GUARD_MAGIC 0xb0070000u
#define BOOT_GUARD_MAGIC_MASK 0xffff0000u
#define BOOT_GUARD_FATAL_FLAG 0x100u
#define BOOT_GUARD_FEED_MS 1000
#define BOOT_GUARD_MAX_FEED_MS 30000
#define BOOT_GUARD_STABLE_MS 10000
#define BOOT_GUARD_SAFE_ATTEMPTS 3U
#define BOOT_GUARD_GIVE_UP_ATTEMPTS 5U

static uint8_t attempts;
static int64_t loop_since_ms = -1;
static bool cleared;

static void boot_guard_feed(struct k_timer *timer)
{
	if(k_uptime_get() > BOOT_GUARD_MAX_FEED_MS)
	{
		/* something is really stuck: let the watchdog reset it */
		k_timer_stop(timer);
		return;
	}
	watchdog_feed();
}

static K_TIMER_DEFINE(boot_guard_timer, boot_guard_feed, NULL);

static void boot_guard_store(uint8_t count)
{
	BOOT_GUARD_WORD = count == 0U ? 0U : (BOOT_GUARD_MAGIC | count);
}

void boot_guard_begin(void)
{
	uint32_t word = BOOT_GUARD_WORD;
	bool valid = (word & BOOT_GUARD_MAGIC_MASK) == BOOT_GUARD_MAGIC;
	/* only a hang (watchdog), a lockup or our own retry reboot count as a failed boot;
	 * power-on, Steam-button wake and normal reboots start the count over */
	bool failed = (power_boot_reset_reason() &
	               (POWER_RESETREAS_DOG_Msk | POWER_RESETREAS_LOCKUP_Msk)) != 0U ||
	              (valid && (word & BOOT_GUARD_FATAL_FLAG) != 0U);

	attempts = valid && failed ? (uint8_t)(word & 0xffU) : 0U;
	if(attempts < UINT8_MAX)
	{
		attempts++;
	}
	boot_guard_store(attempts);
	watchdog_feed();
	k_timer_start(&boot_guard_timer, K_MSEC(BOOT_GUARD_FEED_MS), K_MSEC(BOOT_GUARD_FEED_MS));
	if(attempts > 1U)
	{
		LOG_WRN("boot attempt %u without a stable start before", attempts);
	}
}

uint8_t boot_guard_attempts(void)
{
	return attempts;
}

bool boot_guard_safe_mode(void)
{
	return attempts >= BOOT_GUARD_SAFE_ATTEMPTS;
}

void boot_guard_loop(void)
{
	int64_t now;

	if(cleared)
	{
		return;
	}
	now = k_uptime_get();
	if(loop_since_ms < 0)
	{
		/* main loop reached: it feeds the watchdog itself from here on */
		loop_since_ms = now;
		k_timer_stop(&boot_guard_timer);
		return;
	}
	if(now - loop_since_ms >= BOOT_GUARD_STABLE_MS)
	{
		cleared = true;
		boot_guard_store(0U);
	}
}

void boot_guard_fatal(const char *stage, int err)
{
	LOG_ERR("%s failed: %d (boot attempt %u)", stage, err, attempts);
	if(attempts < BOOT_GUARD_GIVE_UP_ATTEMPTS)
	{
		BOOT_GUARD_WORD = BOOT_GUARD_MAGIC | BOOT_GUARD_FATAL_FLAG | attempts;
		k_msleep(100);
		sys_reboot(SYS_REBOOT_COLD);
	}
	/* give up without looping: clean power-off; the next Steam press starts fresh */
	boot_guard_store(0U);
	power_off_quiet();
	for(;;)
	{
		k_msleep(500);
		watchdog_feed();
	}
}
```

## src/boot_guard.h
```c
/* SPDX-License-Identifier: AGPL-3.0-or-later */
#pragma once

#include <stdbool.h>
#include <stdint.h>

/*
 * Startup safeguard.
 *  - Keeps the bootloader-armed watchdog (5 s) fed while main() initialises, so a slow
 *    first boot after flashing (settings migration, USB enumeration) cannot reset-loop.
 *  - Counts boots that never reached a stable main loop (retained RAM, survives resets).
 *  - Init failures no longer return from main() (which starved the watchdog and looped
 *    the controller with the boot LED blinking): retry with a reboot, then give up cleanly.
 */
void boot_guard_begin(void);
/* boots in a row that did not stay up for BOOT_GUARD_STABLE_MS, including this one */
uint8_t boot_guard_attempts(void);
bool boot_guard_safe_mode(void);
/* call every main-loop iteration */
void boot_guard_loop(void);
/* a required init step failed: reboot to retry, or power off after too many tries */
void boot_guard_fatal(const char *stage, int err);
```

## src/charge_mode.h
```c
/* SPDX-License-Identifier: AGPL-3.0-or-later */

#pragma once

enum charge_mode_result
{
	CHARGE_MODE_SKIPPED,
	CHARGE_MODE_USB_CONFIGURED,
	CHARGE_MODE_POWER_ON_RADIO,
};

enum charge_mode_result charge_mode_run_if_needed(void);
void charge_mode_dock_led_poll(void);
```

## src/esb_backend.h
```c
/* SPDX-License-Identifier: AGPL-3.0-or-later */
#pragma once

#include <stdbool.h>
#include <stddef.h>
#include <stdint.h>

#define VALVE_ESB_BACKEND_MAX_PAYLOAD_SIZE 128

enum valve_esb_backend_event_id
{
	VALVE_ESB_EVENT_TX_SUCCESS,
	VALVE_ESB_EVENT_RX_RECEIVED,
	VALVE_ESB_EVENT_TX_FAILED,
};

struct valve_esb_backend_event
{
	enum valve_esb_backend_event_id evt_id;
};

typedef void (*valve_esb_backend_event_handler)(const struct valve_esb_backend_event *event);

struct valve_esb_payload
{
	uint8_t length;
	uint8_t pipe;
	int8_t rssi;
	uint8_t noack;
	uint8_t pid;
	uint8_t data[VALVE_ESB_BACKEND_MAX_PAYLOAD_SIZE];
};

struct valve_esb_backend_config
{
	valve_esb_backend_event_handler event_handler;
	uint16_t retransmit_delay;
	uint16_t retransmit_count;
	uint8_t payload_length;
	bool selective_auto_ack;
	bool use_fast_ramp_up;
};

struct valve_esb_backend_debug
{
	uint8_t channel;
	uint8_t prefix;
	uint8_t base[4];
	bool rx_running;
	bool tx_active;
	uint32_t mode;
	uint32_t frequency;
	uint32_t pcnf0;
	uint32_t pcnf1;
	uint32_t base0;
	uint32_t prefix0;
	uint32_t rxaddresses;
	uint32_t txaddress;
	uint32_t crccnf;
	uint32_t crcpoly;
	uint32_t crcinit;
	uint32_t crcstatus;
	uint32_t shorts;
	uint32_t intenset;
	uint32_t state;
	uint32_t packetptr;
	uint32_t events_ready;
	uint32_t events_address;
	uint32_t events_end;
	uint32_t events_disabled;
};

#define VALVE_ESB_BACKEND_DEFAULT_CONFIG \
	{ \
		.payload_length = VALVE_ESB_BACKEND_MAX_PAYLOAD_SIZE, \
		.selective_auto_ack = true, .use_fast_ramp_up = true, \
	}

int valve_esb_backend_init(const struct valve_esb_backend_config *config);
int valve_esb_backend_set_address_length(uint8_t length);
int valve_esb_backend_set_rf_channel(uint8_t channel);
int valve_esb_backend_set_base_address_0(const uint8_t *base);
int valve_esb_backend_set_prefixes(const uint8_t *prefixes, uint8_t count);
int valve_esb_backend_start_rx(void);
int valve_esb_backend_stop_rx(void);
int valve_esb_backend_flush_rx(void);
int valve_esb_backend_flush_tx(void);
int valve_esb_backend_write_payload(const struct valve_esb_payload *payload);
int valve_esb_backend_write_latest_payload(const struct valve_esb_payload *payload);
int valve_esb_backend_read_rx_payload(struct valve_esb_payload *payload);
void valve_esb_backend_disable(void);
int valve_esb_backend_get_debug(struct valve_esb_backend_debug *debug);
uint32_t valve_esb_backend_end_events(void);
uint32_t valve_esb_backend_crc_ok_events(void);
uint32_t valve_esb_backend_crc_bad_events(void);
uint32_t valve_esb_backend_rx_dropped_events(void);
```

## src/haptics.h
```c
/* SPDX-License-Identifier: AGPL-3.0-or-later */
#pragma once

#include <stdbool.h>
#include <stddef.h>
#include <stdint.h>

#define HAPTICS_PCM_MAX_SAMPLES 62
#define HAPTICS_PCM_STEREO_MAX_SAMPLES (HAPTICS_PCM_MAX_SAMPLES / 2)

#define HAPTICS_CHANNEL_LEFT_0 (1U << 0)
#define HAPTICS_CHANNEL_RIGHT_0 (1U << 1)
#define HAPTICS_CHANNEL_LEFT_1 (1U << 2)
#define HAPTICS_CHANNEL_RIGHT_1 (1U << 3)
#define HAPTICS_CHANNELS_PRIMARY (HAPTICS_CHANNEL_LEFT_0 | HAPTICS_CHANNEL_RIGHT_0)
#define HAPTICS_CHANNELS_ALL \
	(HAPTICS_CHANNEL_LEFT_0 | HAPTICS_CHANNEL_RIGHT_0 | HAPTICS_CHANNEL_LEFT_1 | HAPTICS_CHANNEL_RIGHT_1)

enum haptics_effect_type
{
	HAPTICS_EFFECT_STOP,
	HAPTICS_EFFECT_STOP_PCM,
	HAPTICS_EFFECT_BUTTON_PULSE,
	HAPTICS_EFFECT_TICK,
	HAPTICS_EFFECT_CLICK,
	HAPTICS_EFFECT_TONE,
	HAPTICS_EFFECT_PULSE_ONE_SHOT,
	HAPTICS_EFFECT_PULSE_CLICK,
	HAPTICS_EFFECT_PULSE_PERIODIC,
	HAPTICS_EFFECT_LFO_TONE,
	HAPTICS_EFFECT_RANDOM_LFO,
	HAPTICS_EFFECT_LOG_SWEEP,
	HAPTICS_EFFECT_PCM_CONFIG,
	HAPTICS_EFFECT_PCM_S8,
	HAPTICS_EFFECT_PCM_STEREO,
	HAPTICS_EFFECT_SCREAM,
	HAPTICS_EFFECT_MEOW,
};

struct haptics_effect
{
	enum haptics_effect_type type;
	uint8_t channels;
	int8_t gain_db;
	uint16_t frequency_hz;
	uint16_t end_frequency_hz;
	uint16_t duration_ms;
	uint16_t on_us;
	uint16_t off_us;
	uint16_t repeat_count;
	float lfo_frequency_hz;
	uint8_t lfo_depth;
	uint8_t invert_channels;
	uint8_t pcm_format;
	uint8_t sample_count;
	uint8_t samples[HAPTICS_PCM_MAX_SAMPLES];
};

struct haptics_debug
{
	uint8_t ready;
	uint8_t enabled;
	uint8_t last_report_id;
	uint8_t last_effect_type;
	uint8_t last_effect_channels;
	uint32_t reports_seen;
	uint32_t effects_submitted;
	uint32_t effects_disabled;
	uint32_t effects_no_channel;
	uint32_t effects_queue_busy;
	uint32_t backend_calls;
	uint32_t backend_errors;
	int last_submit_err;
	int last_backend_err;
};

struct haptics_backend_debug
{
	uint32_t play_requests;
	uint32_t play_started;
	uint32_t play_suppressed;
	uint8_t last_requested_channels;
	uint8_t last_physical_channels;
	uint8_t last_play_channels;
	uint32_t last_sample_count;
	int last_play_err;
};

int haptics_init(void);
int haptics_handle_output_report(uint8_t report_id, const uint8_t *data, size_t len);
void haptics_get_debug(struct haptics_debug *debug);
int haptics_debug_play_tick(uint8_t channels);
int haptics_debug_play_click(uint8_t channels);
int haptics_debug_play_pulse(uint8_t channels);
void haptics_touchpad_update(bool right, bool pressure_active, bool touch_active, int16_t x,
                             int16_t y);

int haptics_backend_init(void);
int haptics_backend_effect(const struct haptics_effect *effect);
int haptics_backend_get_debug(struct haptics_backend_debug *debug);
int haptics_backend_set_master_gain_db(int16_t gain_db);
int haptics_backend_set_amplifier_mode(bool forced_on);
int haptics_backend_pulse(void);
int haptics_backend_tone(uint32_t frequency_hz, uint32_t duration_ms);

/* Route trigger-driven haptics (Steam trigger effects) to the grip actuators. */
void haptics_trigger_update(int16_t left, int16_t right);
void haptics_gyro_update(int16_t gx, int16_t gy, int16_t gz);
struct controller_report;
void haptics_debug_quat(struct controller_report *report);
#include <stddef.h>
void haptics_debug_note_feature(const uint8_t *request, size_t len);
enum haptics_system_sound
{
	HAPTICS_SOUND_POWER_ON,
	HAPTICS_SOUND_POWER_OFF,
	HAPTICS_SOUND_PAIRING,
	HAPTICS_SOUND_PAIRED,
};
int haptics_play_system_sound(enum haptics_system_sound sound);
int haptics_play_power_sound(bool on);
int haptics_play_drop_sound(void);
```
